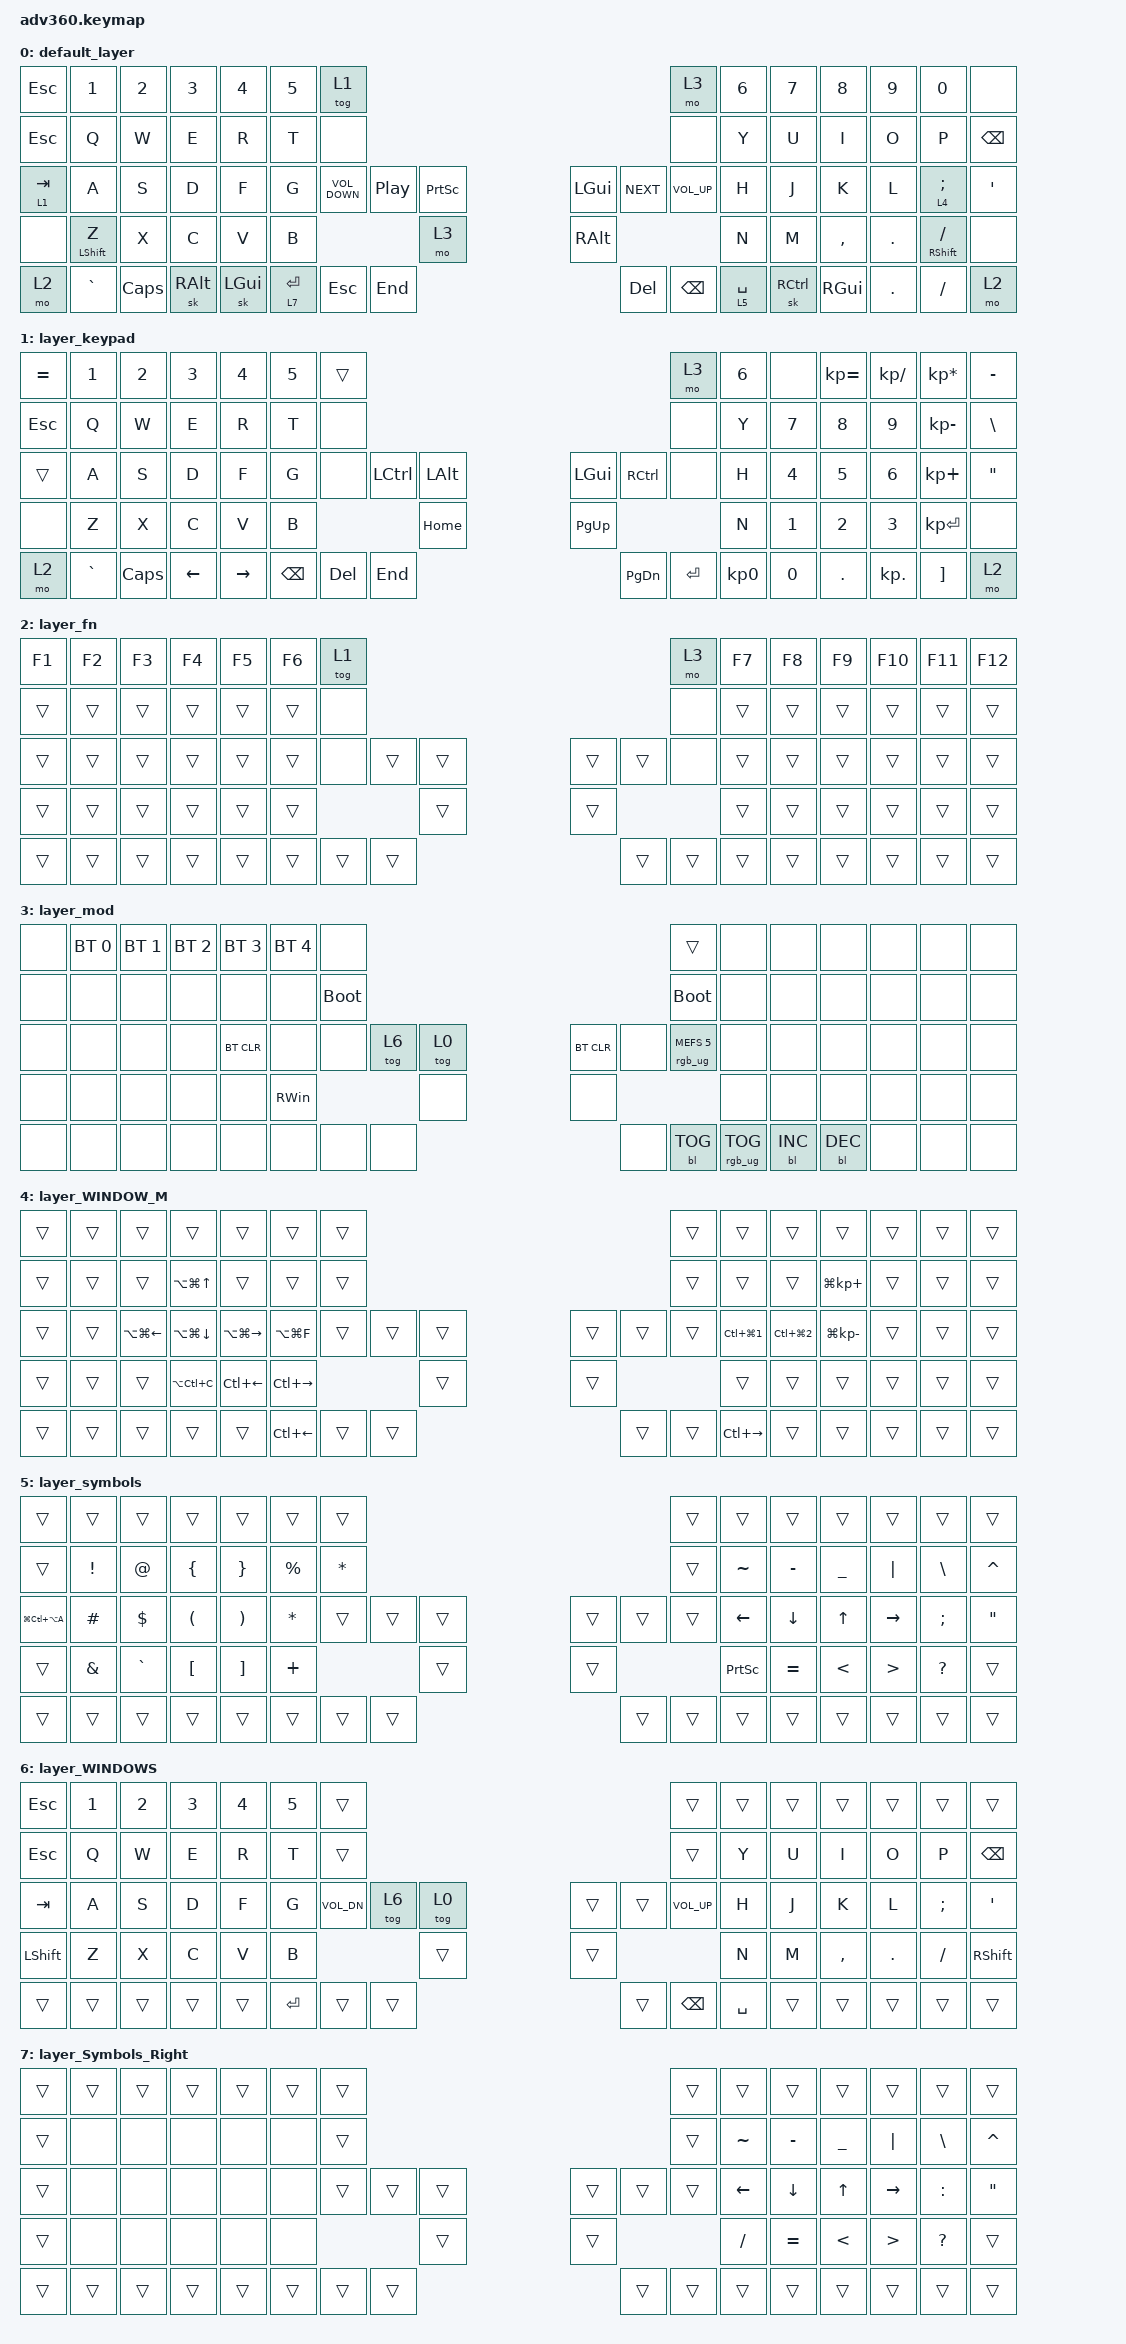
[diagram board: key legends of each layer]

/*
 * Copyright (c) 2020 The ZMK Contributors
 *
 * SPDX-License-Identifier: MIT
 */


/* THIS FILE WAS GENERATED!
 *
 * This file was generated automatically. You may or may not want to
 * edit it directly.
 */

#include <behaviors.dtsi>
#include <dt-bindings/zmk/keys.h>
#include <dt-bindings/zmk/bt.h>
#include <dt-bindings/zmk/rgb.h>
#include <dt-bindings/zmk/backlight.h>

/ {
  behaviors {
    #include "macros.dtsi"
    #include "version.dtsi"

    hm: homerow_mods {
        compatible = "zmk,behavior-hold-tap";
        label = "HOMEROW_MODS";
        #binding-cells = <2>;
        tapping-term-ms = <200>;
        quick_tap_ms = <175>;
        flavor = "tap-preferred";
        bindings = <&kp>, <&kp>;
    };
  };

    keymap {
        compatible = "zmk,keymap";


        default_layer {
            bindings = <
    &kp ESC        &kp N1    &kp N2         &kp N3        &kp N4  &kp N5                       &tog 1                                                                                             &mo 3  &kp N6             &kp N7     &kp N8   &kp N9                 &kp N0          &none
 &kp ESCAPE         &kp Q     &kp W          &kp E         &kp R   &kp T                        &none                                                                                             &none   &kp Y              &kp U      &kp I    &kp O                  &kp P  &kp BACKSPACE
  &lt 1 TAB         &kp A     &kp S          &kp D         &kp F   &kp G            &kp C_VOLUME_DOWN  &kp C_PLAY_PAUSE  &kp PRINTSCREEN                       &kp LGUI     &kp C_NEXT  &kp C_VOLUME_UP   &kp H              &kp J      &kp K    &kp L        &lt 4 SEMICOLON        &kp SQT
      &none  &mt LSHIFT Z     &kp X          &kp C         &kp V   &kp B                                                           &mo 3                  &kp RIGHT_ALT                                   &kp N              &kp M  &kp COMMA  &kp DOT  &mt RIGHT_SHIFT SLASH          &none
      &mo 2     &kp GRAVE  &kp CAPS  &sk RIGHT_ALT  &sk LEFT_GUI                          &lt 7 ENTER           &kp ESC          &kp END                     &kp DELETE  &kp BACKSPACE      &lt 5 SPACE          &sk RIGHT_CONTROL   &kp RGUI  &kp DOT              &kp SLASH          &mo 2
            >;
        };

        layer_keypad {
            bindings = <
  &kp EQUAL     &kp N1    &kp N2    &kp N3     &kp N4  &kp N5              &trans                                                                 &mo 3  &kp N6         &none  &kp KP_EQUAL  &kp KP_DIVIDE  &kp KP_MULTIPLY          &kp MINUS
 &kp ESCAPE      &kp Q     &kp W     &kp E      &kp R   &kp T               &none                                                                 &none   &kp Y  &kp NUMBER_7  &kp NUMBER_8   &kp NUMBER_9     &kp KP_MINUS           &kp BSLH
     &trans      &kp A     &kp S     &kp D      &kp F   &kp G               &none  &kp LCTRL  &kp LALT                   &kp LGUI  &kp RCTRL      &none   &kp H  &kp NUMBER_4  &kp NUMBER_5   &kp NUMBER_6      &kp KP_PLUS  &kp DOUBLE_QUOTES
      &none      &kp Z     &kp X     &kp C      &kp V   &kp B                                 &kp HOME                  &kp PG_UP                         &kp N  &kp NUMBER_1  &kp NUMBER_2   &kp NUMBER_3     &kp KP_ENTER              &none
      &mo 2  &kp GRAVE  &kp CAPS  &kp LEFT  &kp RIGHT                    &kp BSPC    &kp DEL   &kp END                  &kp PG_DN  &kp ENTER  &kp KP_N0          &kp NUMBER_0       &kp DOT     &kp KP_DOT         &kp RBKT              &mo 2
            >;
        };

        layer_fn {
            bindings = <
 &kp F1  &kp F2  &kp F3  &kp F4  &kp F5  &kp F6            &tog 1                                                   &mo 3  &kp F7  &kp F8  &kp F9  &kp F10  &kp F11  &kp F12
 &trans  &trans  &trans  &trans  &trans  &trans             &none                                                   &none  &trans  &trans  &trans   &trans   &trans   &trans
 &trans  &trans  &trans  &trans  &trans  &trans             &none  &trans  &trans                  &trans  &trans   &none  &trans  &trans  &trans   &trans   &trans   &trans
 &trans  &trans  &trans  &trans  &trans  &trans                            &trans                  &trans                  &trans  &trans  &trans   &trans   &trans   &trans
 &trans  &trans  &trans  &trans  &trans                    &trans  &trans  &trans                  &trans  &trans  &trans          &trans  &trans   &trans   &trans   &trans
            >;
        };

        layer_mod {
            bindings = <
  &none  &bt BT_SEL 0  &bt BT_SEL 1  &bt BT_SEL 2  &bt BT_SEL 3   &bt BT_SEL 4                  &none                                                                          &trans   &none       &none       &none   &none   &none   &none
  &none         &none         &none         &none         &none          &none            &bootloader                                                                     &bootloader   &none       &none       &none   &none   &none   &none
  &none         &none         &none         &none    &bt BT_CLR          &none                  &none  &tog 6  &tog 0                  &bt BT_CLR       &none  &rgb_ug RGB_MEFS_CMD 5   &none       &none       &none   &none   &none   &none
  &none         &none         &none         &none         &none  &kp RIGHT_WIN                                  &none                       &none                                       &none       &none       &none   &none   &none   &none
  &none         &none         &none         &none         &none                                 &none   &none   &none                       &none  &bl BL_TOG         &rgb_ug RGB_TOG          &bl BL_INC  &bl BL_DEC   &none   &none   &none
            >;
        };

        layer_WINDOW_M {
            bindings = <
 &trans  &trans            &trans            &trans             &trans         &trans                  &trans                                                         &trans                &trans                &trans            &trans  &trans  &trans  &trans
 &trans  &trans            &trans    &kp LA(LG(UP))             &trans         &trans                  &trans                                                         &trans                &trans                &trans   &kp LG(KP_PLUS)  &trans  &trans  &trans
 &trans  &trans  &kp LA(LG(LEFT))  &kp LA(LG(DOWN))  &kp LA(LG(RIGHT))  &kp LA(LG(F))                  &trans  &trans  &trans                  &trans  &trans         &trans  &kp LC(LG(NUMBER_1))  &kp LC(LG(NUMBER_2))  &kp LG(KP_MINUS)  &trans  &trans  &trans
 &trans  &trans            &trans     &kp LA(LC(C))       &kp LC(LEFT)  &kp LC(RIGHT)                                  &trans                  &trans                                       &trans                &trans            &trans  &trans  &trans  &trans
 &trans  &trans            &trans            &trans             &trans                           &kp LC(LEFT)  &trans  &trans                  &trans  &trans  &kp LC(RIGHT)                                      &trans            &trans  &trans  &trans  &trans
            >;
        };

        layer_symbols {
            bindings = <
            &trans           &trans       &trans            &trans             &trans        &trans                  &trans                                                  &trans     &trans     &trans          &trans            &trans         &trans             &trans
            &trans  &kp EXCLAMATION  &kp AT_SIGN    &kp LEFT_BRACE    &kp RIGHT_BRACE   &kp PERCENT            &kp ASTERISK                                                  &trans  &kp TILDE  &kp MINUS  &kp UNDERSCORE          &kp PIPE  &kp BACKSLASH          &kp CARET
 &kp LG(LC(LA(A)))         &kp HASH   &kp DOLLAR          &kp LPAR           &kp RPAR  &kp ASTERISK                  &trans  &trans  &trans                  &trans  &trans  &trans   &kp LEFT   &kp DOWN          &kp UP         &kp RIGHT  &kp SEMICOLON  &kp DOUBLE_QUOTES
            &trans    &kp AMPERSAND    &kp GRAVE  &kp LEFT_BRACKET  &kp RIGHT_BRACKET      &kp PLUS                                  &trans                  &trans                  &kp PSCRN  &kp EQUAL   &kp LESS_THAN  &kp GREATER_THAN   &kp QUESTION             &trans
            &trans           &trans       &trans            &trans             &trans                                &trans  &trans  &trans                  &trans  &trans  &trans                &trans          &trans            &trans         &trans             &trans
            >;
        };

        layer_WINDOWS {
            bindings = <
        &kp ESC  &kp NUMBER_1  &kp NUMBER_2  &kp NUMBER_3  &kp NUMBER_4  &kp NUMBER_5                  &trans                                                          &trans  &trans  &trans     &trans   &trans         &trans           &trans
        &kp ESC         &kp Q         &kp W         &kp E         &kp R         &kp T                  &trans                                                          &trans   &kp Y   &kp U      &kp I    &kp O          &kp P         &kp BSPC
        &kp TAB         &kp A         &kp S         &kp D         &kp F         &kp G            &kp C_VOL_DN  &tog 6  &tog 0                  &trans    &trans  &kp C_VOL_UP   &kp H   &kp J      &kp K    &kp L  &kp SEMICOLON          &kp SQT
 &kp LEFT_SHIFT         &kp Z         &kp X         &kp C         &kp V         &kp B                                  &trans                  &trans                           &kp N   &kp M  &kp COMMA  &kp DOT      &kp SLASH  &kp RIGHT_SHIFT
         &trans        &trans        &trans        &trans        &trans                             &kp ENTER  &trans  &trans                  &trans  &kp BSPC     &kp SPACE          &trans     &trans   &trans         &trans           &trans
            >;
        };

        layer_Symbols_Right {
            bindings = <
 &trans  &trans  &trans  &trans  &trans  &trans            &trans                                                  &trans     &trans     &trans         &trans            &trans         &trans             &trans
 &trans   &none   &none   &none   &none   &none            &trans                                                  &trans  &kp TILDE  &kp MINUS      &kp UNDER          &kp PIPE  &kp BACKSLASH          &kp CARET
 &trans   &none   &none   &none   &none   &none            &trans  &trans  &trans                  &trans  &trans  &trans   &kp LEFT   &kp DOWN         &kp UP         &kp RIGHT      &kp COLON  &kp DOUBLE_QUOTES
 &trans   &none   &none   &none   &none   &none                            &trans                  &trans                  &kp SLASH  &kp EQUAL  &kp LESS_THAN  &kp GREATER_THAN   &kp QUESTION             &trans
 &trans  &trans  &trans  &trans  &trans                    &trans  &trans  &trans                  &trans  &trans  &trans                &trans         &trans            &trans         &trans             &trans
            >;
        };

    };
};
